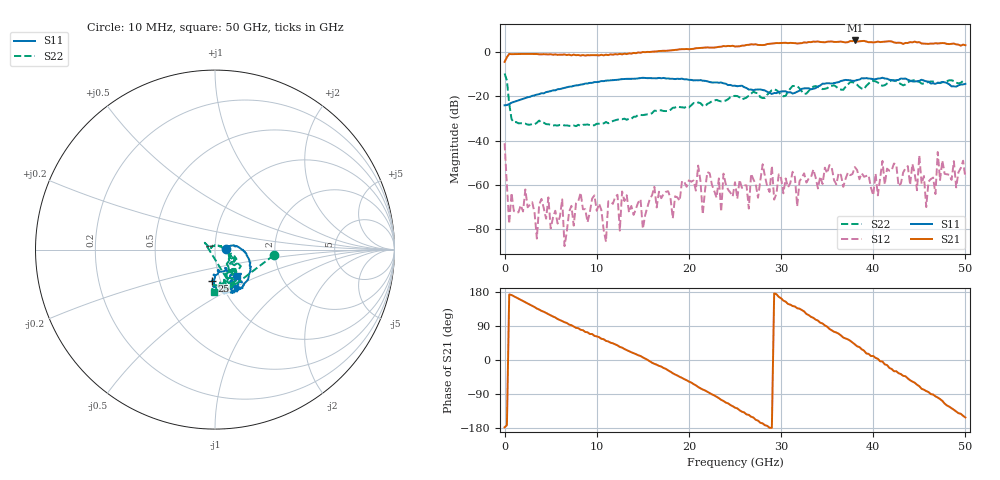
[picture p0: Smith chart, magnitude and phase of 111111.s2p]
!Agilent Technologies,E8364C,MY43040239,A.09.42.22
!Agilent E8364C: A.09.42.22
!Date: Sunday, September 14, 2025 22:29:09
!Correction: S11(Full 2 Port(1,2))
!S21(Full 2 Port(1,2))
!S12(Full 2 Port(1,2))
!S22(Full 2 Port(1,2))
!S2P File: Measurements: S11, S21, S12, S22:
# Hz S  RI  R 50
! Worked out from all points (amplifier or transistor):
!   201 points, 10 MHz to 50 GHz, reference 50 ohm
!   highest |S21| = 5.3 dB at 38 GHz (marker M1)
!   |S21| within 3 dB of that: 23.1 GHz to end of sweep
!   unconditionally stable (mu >= 1): start of sweep to end of sweep
!   at 8.258 GHz: K = 860.17, MAG = -1.4 dB, |S12| = -63.5 dB
!   at 25 GHz: K = 308.93, MAG = 2.7 dB, |S12| = -58.7 dB
!   at 50 GHz: K = 218.87, MAG = 3.5 dB, |S12| = -56.8 dB
!   S11 on the Smith chart (normalised r, x): 10 MHz: 1.13, +0.01; 25 GHz: 0.91, -0.33; 50 GHz: 1.22, -0.37
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1e7  0.0628 0.00256  -0.6015 -0.0265  -0.000469 0.00875  0.3275 -0.0317
5.099e8  0.0666 0.00991  -0.9024 0.1121  0.000114 6.86e-05  -0.0568 0.0381
2.25955e9  0.0892 0.0228  -0.8048 0.4232  0.000731 0.000307  -0.0222 0.00974
3.5093e9  0.1075 0.0237  -0.6504 0.6327  4.5e-05 4.21e-05  -0.0222 0.0125
8.5083e9  0.1825 -0.0419  0.1689 0.8432  0.000183 0.000215  -0.000856 0.0228
1.10078e10  0.1984 -0.1095  0.5586 0.6738  -5.24e-05 3.4e-08  0.0118 0.0237
1.225755e10  0.1872 -0.1457  0.694 0.5526  0.000599 -2.79e-05  0.02 0.0223
1.25075e10  0.1877 -0.1529  0.7521 0.5166  6.58e-06 -9.28e-05  0.0205 0.0227
1.275745e10  0.1848 -0.1619  0.7489 0.48  -0.000531 -0.000477  0.0215 0.0216
1.5007e10  0.1536 -0.2141  0.9976 0.121  -8.97e-05 5e-05  0.0327 0.0191
1.675665e10  0.1082 -0.2381  1.021 -0.2832  -0.000677 0.000199  0.0465 0.0141
2.5005e10  -0.0167 -0.1737  -0.784 -1.088  0.00115 0.000143  0.0995 -0.0262
2.95041e10  0.023 -0.1163  -1.593 0.1815  0.000617 -0.000167  0.1237 -0.0617
3.35033e10  0.0955 -0.1144  -0.627 1.612  0.00202 0.000973  0.0995 -0.1334
3.80024e10  0.1325 -0.1824  1.375 1.213  0.000615 -0.00247  0.1259 -0.1564
4.175165e10  0.1205 -0.2043  1.644 -0.6308  -0.00119 -0.00172  0.0454 -0.21
4.475105e10  0.0826 -0.204  0.696 -1.507  0.000761 -1.55e-05  0.0558 -0.2111
4.5001e10  0.078 -0.2107  0.5969 -1.57  -0.00429 0.00179  0.0597 -0.2058
4.575085e10  0.0963 -0.1962  0.214 -1.521  -0.00026 0.000181  0.0201 -0.2034
4.675065e10  0.0891 -0.1704  -0.1643 -1.58  0.00041 -0.000469  0.0461 -0.2044
4.70006e10  0.081 -0.186  -0.2478 -1.546  -0.00463 0.00307  0.0384 -0.1988
5e10  0.1236 -0.1473  -1.259 -0.6807  -0.00125 -0.000741  -0.00748 -0.2354
